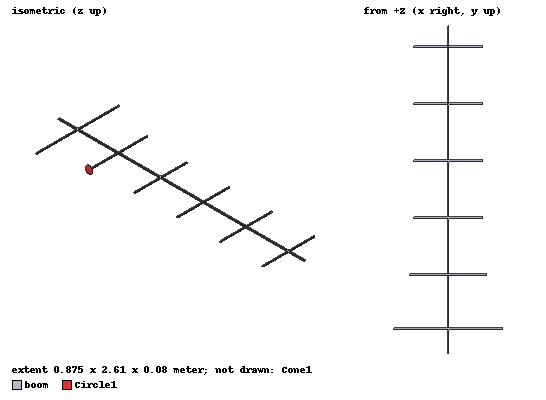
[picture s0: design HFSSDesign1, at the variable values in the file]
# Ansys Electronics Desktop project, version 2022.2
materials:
  vacuum: permittivity=1
  aluminum: permeability=1.000021 conductivity=38000000

design HFSSDesign1 (HFSS, DrivenModal, model units meter)
options: Calculate_Lossy_Dielectrics Save_Adaptive_support_files
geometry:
  boom [aluminum] = cylinder(axis=Y, base_centre=(0meter, 0meter, 0meter), radius=0.0076meter, height=2.61meter)
  reflector = cylinder(axis=X, base_centre=(-0.4375meter, 0.2meter, 0meter), radius=0.0076meter, height=0.875meter)
  dipole = cylinder(axis=X, base_centre=(-0.308meter, 0.63meter, 0meter), radius=0.0076meter, height=0.616meter)
  dr1 = cylinder(axis=X, base_centre=(-0.275meter, 1.0825meter, 0meter), radius=0.0076meter, height=0.55meter)
  dr2 = cylinder(axis=X, base_centre=(-0.275meter, 1.535meter, 0meter), radius=0.0076meter, height=0.55meter)
  dr3 = cylinder(axis=X, base_centre=(-0.275meter, 1.9875meter, 0meter), radius=0.0076meter, height=0.55meter)
  dr4 = cylinder(axis=X, base_centre=(-0.275meter, 2.44meter, 0meter), radius=0.0076meter, height=0.55meter)
  boom.unite(dipole, dr1..dr4, reflector)
  Circle1 = circle(normal=X, centre=(0.308meter, 0.63meter, 0meter), radius=0.04meter)
  Cone1 [vacuum] = cone(axis=Y, base_centre=(0meter, -0.1525meter, 0meter), bottom_radius=2meter, top_radius=1meter, height=5meter)
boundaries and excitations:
  Rad1: Radiation Objects=Cone1
  1: Lumped Port Objects=Circle1 Modes{Mode1{IntLine{(0.308, 0.63, -0.04) -> (0.308, 0.63, 0.04)} CharImp=Zpi RenormImp=50ohm}} Impedance=50ohm
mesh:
  initial mesh: GlobalSurfApproximation{CurvedSurfaceApproxChoice=UseSlider SliderMeshSettings=1}
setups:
  Setup1: HfssDriven Frequency=165MHz MaxDeltaS=0.02 MaximumPasses=6 MinimumPasses=1 MinimumConvergedPasses=1 PercentRefinement=30 BasisOrder=1 PortAccuracy=2 DrivenSolverType="Direct Solver"
    sweep Sweep: 100MHz to 200MHz step 0.1MHz; Type=Fast SaveFields
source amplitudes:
  1:1: 1W 0deg
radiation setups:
  Infinite Sphere1: Infinite Sphere Theta=0deg..180deg step 2deg Phi=-180deg..180deg step 2deg
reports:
  XY Plot 1: dB(S(1,1)) vs Freq on Setup1 : Sweep; markers m1 at 162.6MHz
